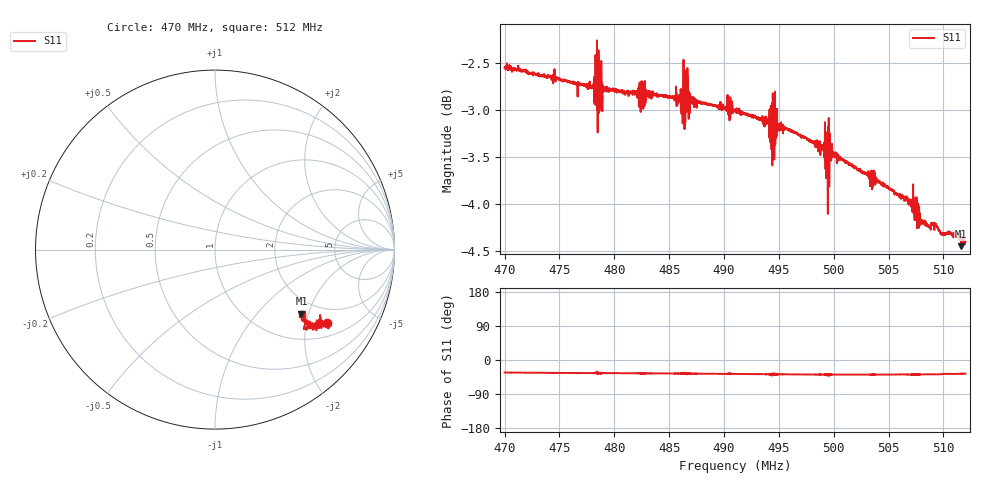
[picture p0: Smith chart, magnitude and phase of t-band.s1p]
! Calibrated averaged scanner-service zoom
# Hz S RI R 50
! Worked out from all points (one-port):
!   4001 points, 470 MHz to 512 MHz, reference 50 ohm
!   lowest |S11| = -4.4 dB at 511.6 MHz (marker M1), VSWR 3.99, Z = 80.9 - j90 ohm
!   |S11| at or under -10 dB: nowhere
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4.7e8  0.6249 -0.4066
4.7525e8  0.607 -0.4124
4.78064e8  0.6002 -0.414
4.783475e8  0.5898 -0.4112
4.7882e8  0.5974 -0.4161
4.805e8  0.595 -0.4125
4.8575e8  0.5754 -0.4201
4.86254e8  0.5748 -0.4164
4.864955e8  0.6006 -0.4256
4.86968e8  0.5812 -0.4163
4.91e8  0.5671 -0.4235
4.943495e8  0.5349 -0.4206
4.946225e8  0.5566 -0.4242
4.9625e8  0.5435 -0.4242
4.989905e8  0.5288 -0.4194
4.99421e8  0.5199 -0.4102
4.9982e8  0.5237 -0.418
5.015e8  0.5183 -0.4123
5.060255e8  0.5037 -0.3921
5.0675e8  0.5 -0.3896
5.07548e8  0.4931 -0.3934
5.080415e8  0.486 -0.3798
5.08661e8  0.4859 -0.3751
5.093855e8  0.4852 -0.3761
5.0969e8  0.4825 -0.3728
5.101205e8  0.4876 -0.363
5.11622e8  0.4813 -0.3568
5.12e8  0.4864 -0.3564
